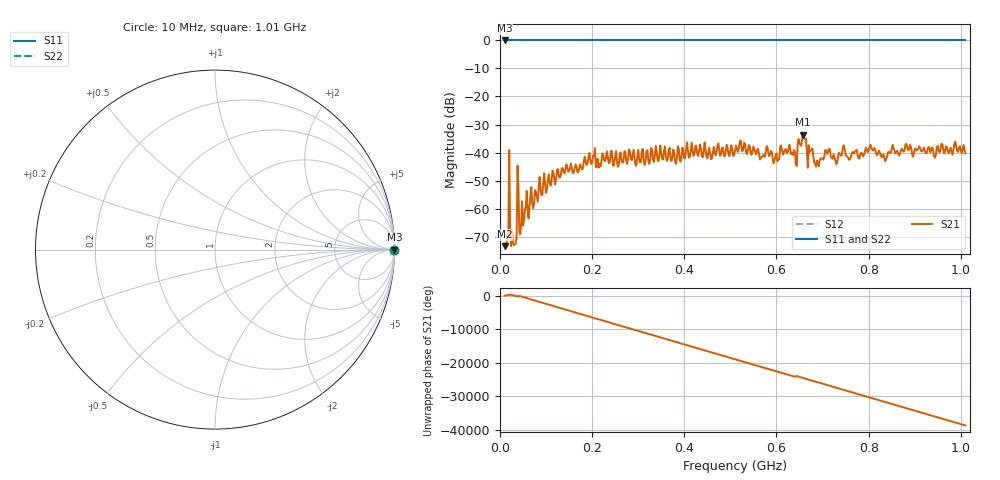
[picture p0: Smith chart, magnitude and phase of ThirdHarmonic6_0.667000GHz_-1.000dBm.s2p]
! 8/15/2025 10:12:02 PM
! C:\ANRITSUVNA\TEMP\TEMP.S2P
! CHANNEL.1
! TR.MEASUREMENT
! RAW.DATA
! RF.CORRECTION.OFF
! AVERAGING.OFF
! IF.BANDWIDTH: 5KHZ
! SWEEPTYPE:  FREQ.SWEEP(Linear)
! Reference Plane Port Info
! PORT:  PORT1  PORT2
! DISTANCE:  0  m  0  m
! TIME:  0  s  0  s
! PHASE.OFFSET:  0  deg.  0  deg.
! LOSS:  0  dB  0  dB
! REF.LOSS:  0  dB  0  dB
! REF.FREQ:  0  Hz  0  Hz
! Power Info
! POWER:  -20  dBm  -20  dBm
! EFF.POWER:  -20  dBm  -20  dBm
! SOURCE.ATTEN:  0  dB  0  dB
! TEST.ATTEN:  0  dB  0  dB
# GHZ S RI R 50.0
! FREQ.GHZ  S11RE  S11IM  S21RE  S21IM  S12RE  S12IM  S22RE  S22IM
!; PortSelection: Port_12
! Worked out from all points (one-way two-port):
!   501 points, 10 MHz to 1.01 GHz, reference 50 ohm
!   highest |S21| = -33.68 dB at 658 MHz (marker M1); lowest = -73.4 dB at 10 MHz (marker M2)
!   lowest |S11| = 0.0 dB at 10 MHz (marker M3)
!   |S11| at or under -10 dB: nowhere
!   |S22| runs from 0.0 to 0.0 dB; largest |S21 - S12| = 1
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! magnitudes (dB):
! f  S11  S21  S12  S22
! 10 MHz  0.0  -73.4  0.0  0.0
! 14 MHz  0.0  -73.2  0.0  0.0
! 18 MHz  0.0  -69.7  0.0  0.0
! 24 MHz  0.0  -73.4  0.0  0.0
! 26 MHz  0.0  -67.5  0.0  0.0
! 32 MHz  0.0  -72.9  0.0  0.0
! 36 MHz  0.0  -70.6  0.0  0.0
! 42 MHz  0.0  -68.6  0.0  0.0
! 46 MHz  0.0  -65.4  0.0  0.0
! 82 MHz  0.0  -57.6  0.0  0.0
! 178 MHz  0.0  -46.0  0.0  0.0
! 344 MHz  0.0  -43.1  0.0  0.0
! 510 MHz  0.0  -39.4  0.0  0.0
! 640 MHz  0.0  -39.7  0.0  0.0
! 658 MHz  0.0  -33.7  0.0  0.0
! 678 MHz  0.0  -38.6  0.0  0.0
! 688 MHz  0.0  -42.9  0.0  0.0
! 710 MHz  0.0  -40.5  0.0  0.0
! 730 MHz  0.0  -44.1  0.0  0.0
! 746 MHz  0.0  -37.4  0.0  0.0
! 844 MHz  0.0  -39.7  0.0  0.0
! 1.01 GHz  0.0  -40.3  0.0  0.0
